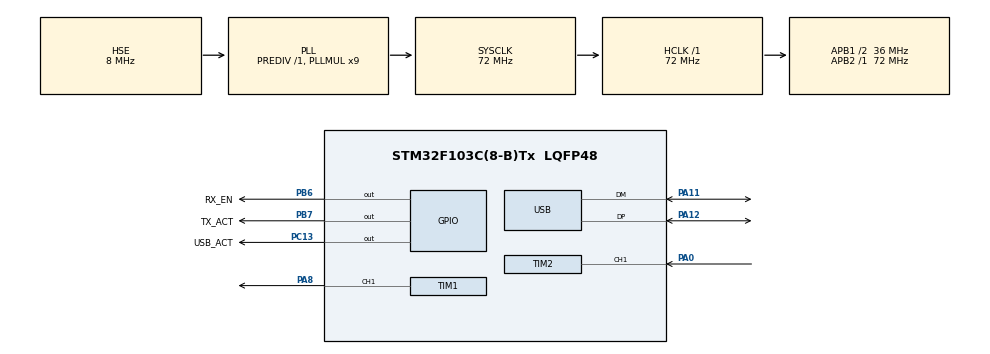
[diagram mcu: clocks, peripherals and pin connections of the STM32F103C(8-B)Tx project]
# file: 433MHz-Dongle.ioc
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Dma.Request0=TIM1_CH1
Dma.TIM1_CH1.0.Direction=DMA_MEMORY_TO_PERIPH
Dma.TIM1_CH1.0.Instance=DMA1_Channel2
Dma.TIM1_CH1.0.MemDataAlignment=DMA_MDATAALIGN_HALFWORD
Dma.TIM1_CH1.0.MemInc=DMA_MINC_ENABLE
Dma.TIM1_CH1.0.Mode=DMA_NORMAL
Dma.TIM1_CH1.0.PeriphDataAlignment=DMA_PDATAALIGN_HALFWORD
Dma.TIM1_CH1.0.PeriphInc=DMA_PINC_DISABLE
Dma.TIM1_CH1.0.Priority=DMA_PRIORITY_HIGH
Mcu.Family=STM32F1
Mcu.Name=STM32F103C(8-B)Tx
Mcu.Package=LQFP48
NVIC.DMA1_Channel2_IRQn=true\:1\:0\:true\:false\:true\:false\:true\:true
NVIC.PriorityGroup=NVIC_PRIORITYGROUP_4
NVIC.TIM2_IRQn=true\:1\:0\:true\:false\:true\:true\:true\:true
NVIC.USB_LP_CAN1_RX0_IRQn=true\:0\:0\:false\:false\:true\:false\:true\:true
PA0-WKUP.Signal=S_TIM2_CH1_ETR
PA11.Mode=Device
PA11.Signal=USB_DM
PA12.Mode=Device
PA12.Signal=USB_DP
PA13.Mode=Trace_Asynchronous_SW
PA13.Signal=SYS_JTMS-SWDIO
PA14.Mode=Trace_Asynchronous_SW
PA14.Signal=SYS_JTCK-SWCLK
PA8.Signal=S_TIM1_CH1
PB3.Mode=Trace_Asynchronous_SW
PB3.Signal=SYS_JTDO-TRACESWO
PB6.GPIO_Label=RX_EN
PB6.Signal=GPIO_Output
PB7.GPIO_Label=TX_ACT
PB7.Signal=GPIO_Output
PC13-TAMPER-RTC.GPIO_Label=USB_ACT
PC13-TAMPER-RTC.Signal=GPIO_Output
PD0-OSC_IN.Mode=HSE-External-Oscillator
PD0-OSC_IN.Signal=RCC_OSC_IN
PD1-OSC_OUT.Mode=HSE-External-Oscillator
PD1-OSC_OUT.Signal=RCC_OSC_OUT
ProjectManager.HeapSize=0x200
ProjectManager.StackSize=0x400
ProjectManager.TargetToolchain=STM32CubeIDE
RCC.AHBFreq_Value=72000000
RCC.APB1CLKDivider=RCC_HCLK_DIV2
RCC.APB1Freq_Value=36000000
RCC.APB1TimFreq_Value=72000000
RCC.APB2Freq_Value=72000000
RCC.APB2TimFreq_Value=72000000
RCC.HCLKFreq_Value=72000000
RCC.PLLMUL=RCC_PLL_MUL9
RCC.PLLSourceVirtual=RCC_PLLSOURCE_HSE
RCC.SYSCLKFreq_VALUE=72000000
RCC.SYSCLKSource=RCC_SYSCLKSOURCE_PLLCLK
RCC.USBFreq_Value=48000000
RCC.USBPrescaler=RCC_USBCLKSOURCE_PLL_DIV1_5
SH.S_TIM1_CH1.0=TIM1_CH1,PWM Generation1 CH1
SH.S_TIM2_CH1_ETR.0=TIM2_CH1,PWM_Input_1
TIM1.AutoReloadPreload=TIM_AUTORELOAD_PRELOAD_ENABLE
TIM1.Channel-PWM\ Generation1\ CH1=TIM_CHANNEL_1
TIM1.Prescaler=72-1
TIM2.Prescaler=72-1
TIM2.TIM_MasterOutputTrigger=TIM_TRGO_RESET
USB_DEVICE.CLASS_NAME_FS=CDC
USB_DEVICE.VirtualMode=Cdc
USB_DEVICE.VirtualModeFS=Cdc_FS
VP_TIM1_VS_ClockSourceINT.Mode=Internal
VP_TIM2_VS_ClockSourceINT.Mode=Internal
VP_USB_DEVICE_VS_USB_DEVICE_CDC_FS.Mode=CDC_FS
board=custom

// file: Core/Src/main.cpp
/* USER CODE BEGIN Header */
/**
  ******************************************************************************
  * @file           : main.c
  * @brief          : Main program body
  ******************************************************************************
  * @attention
  *
  * Copyright (c) 2025 STMicroelectronics.
  * All rights reserved.
  *
  * This software is licensed under terms that can be found in the LICENSE file
  * in the root directory of this software component.
  * If no LICENSE file comes with this software, it is provided AS-IS.
  *
  ******************************************************************************
  */
/* USER CODE END Header */
#include "main.h"
#include "usb_device.h"

/* USER CODE BEGIN Includes */
#include "core_main.h"

/* USER CODE END Includes */

TIM_HandleTypeDef htim1;
TIM_HandleTypeDef htim2;
DMA_HandleTypeDef hdma_tim1_ch1;

void SystemClock_Config(void);
static void MX_GPIO_Init(void);
static void MX_DMA_Init(void);
static void MX_TIM1_Init(void);
static void MX_TIM2_Init(void);

int main(void)
{

  /* MCU Configuration--------------------------------------------------------*/

  /* Reset of all peripherals, Initializes the Flash interface and the Systick. */
  HAL_Init();

  /* Configure the system clock */
  SystemClock_Config();

  /* Initialize all configured peripherals */
  MX_GPIO_Init();
  MX_DMA_Init();
  MX_TIM1_Init();
  MX_TIM2_Init();
  MX_USB_DEVICE_Init();
  /* USER CODE BEGIN 2 */
  int setup = USER_setup();
  if(setup < 0) {
    USER_error();
    return setup;
  }
  /* USER CODE END 2 */

  /* Infinite loop */
  /* USER CODE BEGIN WHILE */
  while (1 && setup == 0) {
	/* USER CODE END WHILE */

	/* USER CODE BEGIN 3 */
	int loop = USER_loop();
	if (loop > 0) {
	  break;
	}
	else if (loop < 0) {
	  USER_error();
	  return loop;
	}
  }
  USER_shutdown();
  /* USER CODE END 3 */
}

void SystemClock_Config(void)
{
  RCC_OscInitTypeDef RCC_OscInitStruct = {0};
  RCC_ClkInitTypeDef RCC_ClkInitStruct = {0};
  RCC_PeriphCLKInitTypeDef PeriphClkInit = {0};

  /** Initializes the RCC Oscillators according to the specified parameters
  * in the RCC_OscInitTypeDef structure.
  */
  RCC_OscInitStruct.OscillatorType = RCC_OSCILLATORTYPE_HSE;
  RCC_OscInitStruct.HSEState = RCC_HSE_ON;
  RCC_OscInitStruct.HSEPredivValue = RCC_HSE_PREDIV_DIV1;
  RCC_OscInitStruct.HSIState = RCC_HSI_ON;
  RCC_OscInitStruct.PLL.PLLState = RCC_PLL_ON;
  RCC_OscInitStruct.PLL.PLLSource = RCC_PLLSOURCE_HSE;
  RCC_OscInitStruct.PLL.PLLMUL = RCC_PLL_MUL9;
  if (HAL_RCC_OscConfig(&RCC_OscInitStruct) != HAL_OK)
  {
    Error_Handler();
  }

  /** Initializes the CPU, AHB and APB buses clocks
  */
  RCC_ClkInitStruct.ClockType = RCC_CLOCKTYPE_HCLK|RCC_CLOCKTYPE_SYSCLK
                              |RCC_CLOCKTYPE_PCLK1|RCC_CLOCKTYPE_PCLK2;
  RCC_ClkInitStruct.SYSCLKSource = RCC_SYSCLKSOURCE_PLLCLK;
  RCC_ClkInitStruct.AHBCLKDivider = RCC_SYSCLK_DIV1;
  RCC_ClkInitStruct.APB1CLKDivider = RCC_HCLK_DIV2;
  RCC_ClkInitStruct.APB2CLKDivider = RCC_HCLK_DIV1;

  if (HAL_RCC_ClockConfig(&RCC_ClkInitStruct, FLASH_LATENCY_2) != HAL_OK)
  {
    Error_Handler();
  }
  PeriphClkInit.PeriphClockSelection = RCC_PERIPHCLK_USB;
  PeriphClkInit.UsbClockSelection = RCC_USBCLKSOURCE_PLL_DIV1_5;
  if (HAL_RCCEx_PeriphCLKConfig(&PeriphClkInit) != HAL_OK)
  {
    Error_Handler();
  }
}

static void MX_TIM1_Init(void)
{

  TIM_ClockConfigTypeDef sClockSourceConfig = {0};
  TIM_MasterConfigTypeDef sMasterConfig = {0};
  TIM_OC_InitTypeDef sConfigOC = {0};
  TIM_BreakDeadTimeConfigTypeDef sBreakDeadTimeConfig = {0};

  htim1.Instance = TIM1;
  htim1.Init.Prescaler = 72-1;
  htim1.Init.CounterMode = TIM_COUNTERMODE_UP;
  htim1.Init.Period = 65535;
  htim1.Init.ClockDivision = TIM_CLOCKDIVISION_DIV1;
  htim1.Init.RepetitionCounter = 0;
  htim1.Init.AutoReloadPreload = TIM_AUTORELOAD_PRELOAD_ENABLE;
  if (HAL_TIM_Base_Init(&htim1) != HAL_OK)
  {
    Error_Handler();
  }
  sClockSourceConfig.ClockSource = TIM_CLOCKSOURCE_INTERNAL;
  if (HAL_TIM_ConfigClockSource(&htim1, &sClockSourceConfig) != HAL_OK)
  {
    Error_Handler();
  }
  if (HAL_TIM_PWM_Init(&htim1) != HAL_OK)
  {
    Error_Handler();
  }
  sMasterConfig.MasterOutputTrigger = TIM_TRGO_RESET;
  sMasterConfig.MasterSlaveMode = TIM_MASTERSLAVEMODE_DISABLE;
  if (HAL_TIMEx_MasterConfigSynchronization(&htim1, &sMasterConfig) != HAL_OK)
  {
    Error_Handler();
  }
  sConfigOC.OCMode = TIM_OCMODE_PWM1;
  sConfigOC.Pulse = 0;
  sConfigOC.OCPolarity = TIM_OCPOLARITY_HIGH;
  sConfigOC.OCNPolarity = TIM_OCNPOLARITY_HIGH;
  sConfigOC.OCFastMode = TIM_OCFAST_DISABLE;
  sConfigOC.OCIdleState = TIM_OCIDLESTATE_RESET;
  sConfigOC.OCNIdleState = TIM_OCNIDLESTATE_RESET;
  if (HAL_TIM_PWM_ConfigChannel(&htim1, &sConfigOC, TIM_CHANNEL_1) != HAL_OK)
  {
    Error_Handler();
  }
  sBreakDeadTimeConfig.OffStateRunMode = TIM_OSSR_DISABLE;
  sBreakDeadTimeConfig.OffStateIDLEMode = TIM_OSSI_DISABLE;
  sBreakDeadTimeConfig.LockLevel = TIM_LOCKLEVEL_OFF;
  sBreakDeadTimeConfig.DeadTime = 0;
  sBreakDeadTimeConfig.BreakState = TIM_BREAK_DISABLE;
  sBreakDeadTimeConfig.BreakPolarity = TIM_BREAKPOLARITY_HIGH;
  sBreakDeadTimeConfig.AutomaticOutput = TIM_AUTOMATICOUTPUT_DISABLE;
  if (HAL_TIMEx_ConfigBreakDeadTime(&htim1, &sBreakDeadTimeConfig) != HAL_OK)
  {
    Error_Handler();
  }
  HAL_TIM_MspPostInit(&htim1);

}

static void MX_TIM2_Init(void)
{

  TIM_ClockConfigTypeDef sClockSourceConfig = {0};
  TIM_SlaveConfigTypeDef sSlaveConfig = {0};
  TIM_IC_InitTypeDef sConfigIC = {0};
  TIM_MasterConfigTypeDef sMasterConfig = {0};

  htim2.Instance = TIM2;
  htim2.Init.Prescaler = 72-1;
  htim2.Init.CounterMode = TIM_COUNTERMODE_UP;
  htim2.Init.Period = 65535;
  htim2.Init.ClockDivision = TIM_CLOCKDIVISION_DIV1;
  htim2.Init.AutoReloadPreload = TIM_AUTORELOAD_PRELOAD_DISABLE;
  if (HAL_TIM_Base_Init(&htim2) != HAL_OK)
  {
    Error_Handler();
  }
  sClockSourceConfig.ClockSource = TIM_CLOCKSOURCE_INTERNAL;
  if (HAL_TIM_ConfigClockSource(&htim2, &sClockSourceConfig) != HAL_OK)
  {
    Error_Handler();
  }
  if (HAL_TIM_IC_Init(&htim2) != HAL_OK)
  {
    Error_Handler();
  }
  sSlaveConfig.SlaveMode = TIM_SLAVEMODE_RESET;
  sSlaveConfig.InputTrigger = TIM_TS_TI1FP1;
  sSlaveConfig.TriggerPolarity = TIM_INPUTCHANNELPOLARITY_RISING;
  sSlaveConfig.TriggerPrescaler = TIM_ICPSC_DIV1;
  sSlaveConfig.TriggerFilter = 0;
  if (HAL_TIM_SlaveConfigSynchro(&htim2, &sSlaveConfig) != HAL_OK)
  {
    Error_Handler();
  }
  sConfigIC.ICPolarity = TIM_INPUTCHANNELPOLARITY_RISING;
  sConfigIC.ICSelection = TIM_ICSELECTION_DIRECTTI;
  sConfigIC.ICPrescaler = TIM_ICPSC_DIV1;
  sConfigIC.ICFilter = 0;
  if (HAL_TIM_IC_ConfigChannel(&htim2, &sConfigIC, TIM_CHANNEL_1) != HAL_OK)
  {
    Error_Handler();
  }
  sConfigIC.ICPolarity = TIM_INPUTCHANNELPOLARITY_FALLING;
  sConfigIC.ICSelection = TIM_ICSELECTION_INDIRECTTI;
  if (HAL_TIM_IC_ConfigChannel(&htim2, &sConfigIC, TIM_CHANNEL_2) != HAL_OK)
  {
    Error_Handler();
  }
  sMasterConfig.MasterOutputTrigger = TIM_TRGO_RESET;
  sMasterConfig.MasterSlaveMode = TIM_MASTERSLAVEMODE_DISABLE;
  if (HAL_TIMEx_MasterConfigSynchronization(&htim2, &sMasterConfig) != HAL_OK)
  {
    Error_Handler();
  }

}

static void MX_DMA_Init(void)
{

  /* DMA controller clock enable */
  __HAL_RCC_DMA1_CLK_ENABLE();

  /* DMA interrupt init */
  /* DMA1_Channel2_IRQn interrupt configuration */
  HAL_NVIC_SetPriority(DMA1_Channel2_IRQn, 1, 0);
  HAL_NVIC_EnableIRQ(DMA1_Channel2_IRQn);

}

static void MX_GPIO_Init(void)
{
  GPIO_InitTypeDef GPIO_InitStruct = {0};

  /* GPIO Ports Clock Enable */
  __HAL_RCC_GPIOC_CLK_ENABLE();
  __HAL_RCC_GPIOD_CLK_ENABLE();
  __HAL_RCC_GPIOA_CLK_ENABLE();
  __HAL_RCC_GPIOB_CLK_ENABLE();

  /*Configure GPIO pin Output Level */
  HAL_GPIO_WritePin(USB_ACT_GPIO_Port, USB_ACT_Pin, GPIO_PIN_RESET);

  /*Configure GPIO pin Output Level */
  HAL_GPIO_WritePin(GPIOB, RX_EN_Pin|TX_ACT_Pin, GPIO_PIN_RESET);

  /*Configure GPIO pin : USB_ACT_Pin */
  GPIO_InitStruct.Pin = USB_ACT_Pin;
  GPIO_InitStruct.Mode = GPIO_MODE_OUTPUT_PP;
  GPIO_InitStruct.Pull = GPIO_NOPULL;
  GPIO_InitStruct.Speed = GPIO_SPEED_FREQ_LOW;
  HAL_GPIO_Init(USB_ACT_GPIO_Port, &GPIO_InitStruct);

  /*Configure GPIO pins : RX_EN_Pin TX_ACT_Pin */
  GPIO_InitStruct.Pin = RX_EN_Pin|TX_ACT_Pin;
  GPIO_InitStruct.Mode = GPIO_MODE_OUTPUT_PP;
  GPIO_InitStruct.Pull = GPIO_NOPULL;
  GPIO_InitStruct.Speed = GPIO_SPEED_FREQ_LOW;
  HAL_GPIO_Init(GPIOB, &GPIO_InitStruct);

  /* USER CODE BEGIN MX_GPIO_Init_2 */

  /*Configure GPIO pin : USB D+ to trigger re-enumerated by pre-connected host */
  GPIO_InitStruct.Pin = GPIO_PIN_12;
  GPIO_InitStruct.Mode = GPIO_MODE_OUTPUT_PP;
  GPIO_InitStruct.Pull = GPIO_NOPULL;
  GPIO_InitStruct.Speed = GPIO_SPEED_FREQ_LOW;
  HAL_GPIO_Init(GPIOA, &GPIO_InitStruct);

  HAL_GPIO_WritePin(GPIOA, GPIO_PIN_12, GPIO_PIN_RESET);
  HAL_Delay(5);

  /* USER CODE END MX_GPIO_Init_2 */
}

void Error_Handler(void)
{
  __disable_irq();
  while (1)
  {
  }
}
